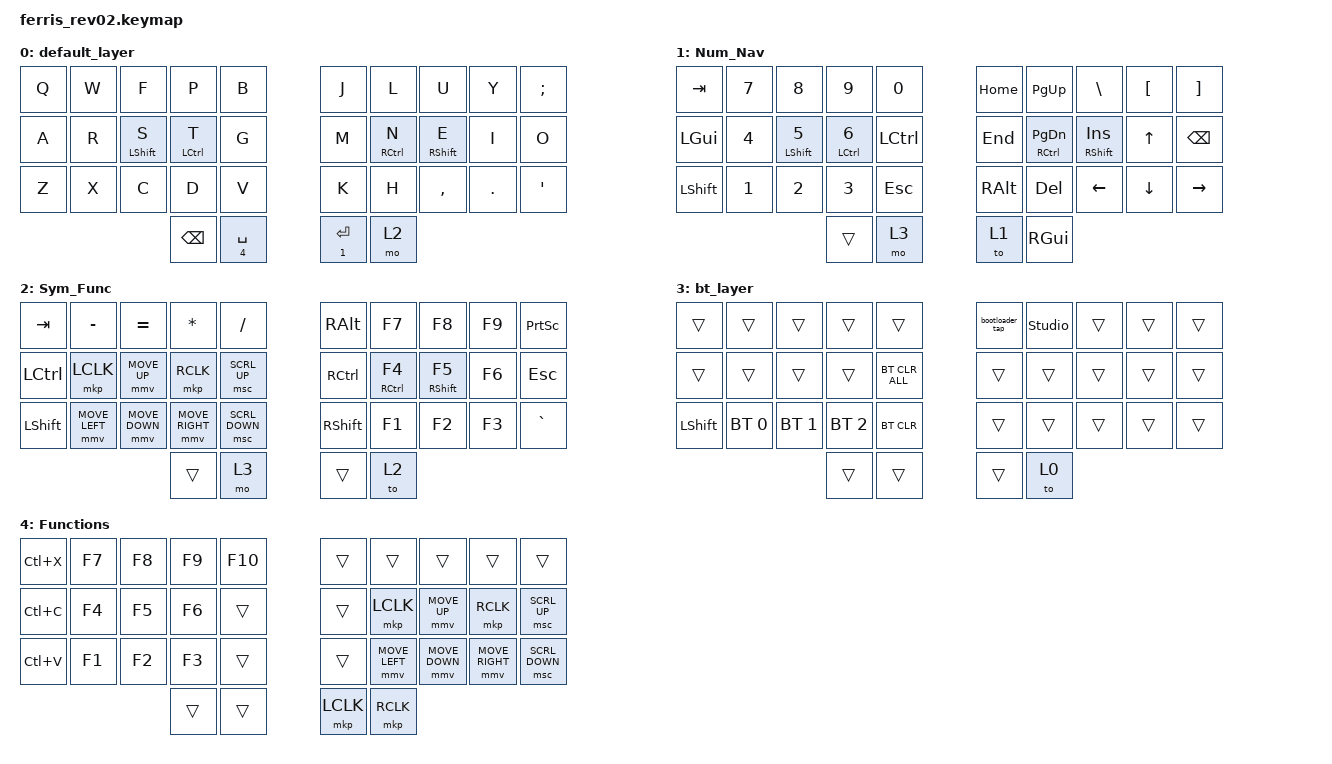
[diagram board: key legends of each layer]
/*
 * Copyright (c) 2020 The ZMK Contributors
 *
 * SPDX-License-Identifier: MIT
 */

#undef ZMK_BEHAVIORS_KEEP_ALL

#define ZMK_MOUSE_DEFAULT_MOVE_VAL 950
#define ZMK_MOUSE_DEFAULT_SCRL_VAL 1

#include <dt-bindings/zmk/mouse.h>
#include <behaviors/mouse_keys.dtsi>
#include <behaviors.dtsi>
#include <dt-bindings/zmk/bt.h>
#include <dt-bindings/zmk/keys.h>
#include <dt-bindings/zmk/pointing.h>

#define NAV_L 1
#define OTHER_L 2
#define NUM_L 3
#define SYM_L 4

// Using layer taps on thumbs, having quick tap as well helps w/ repeating space/backspace

&msc {
    delay-ms = <0>;
    time-to-max-speed-ms = <500>;
    acceleration-exponent = <1>;
};

&mmv {
    delay-ms = <0>;
    time-to-max-speed-ms = <300>;
    acceleration-exponent = <1>;
};

/ {
    behaviors {
        hrshift_l: hrshift_l {
            compatible = "zmk,behavior-hold-tap";
            #binding-cells = <2>;
            tapping-term-ms = <250>;
            flavor = "hold-preferred";
            bindings = <&kp>, <&kp>;

            hold-while-undecided;
            hold-trigger-on-release;
            hold-trigger-key-positions = <5 6 7 8 9 15 16 17 18 19 25 26 27 28 29 32 33>;
        };

        hrshift_r: hrshift_r {
            compatible = "zmk,behavior-hold-tap";
            #binding-cells = <2>;
            tapping-term-ms = <250>;
            flavor = "hold-preferred";
            bindings = <&kp>, <&kp>;

            hold-while-undecided;
            hold-trigger-on-release;
            hold-trigger-key-positions = <0 1 2 3 4 10 11 12 13 14 20 21 22 23 24 30 31>;
        };

        HRL: HRL {
            compatible = "zmk,behavior-hold-tap";
            #binding-cells = <2>;
            tapping-term-ms = <250>;
            flavor = "balanced";
            bindings = <&kp>, <&kp>;

            hold-while-undecided;
            hold-trigger-on-release;
            hold-trigger-key-positions = <5 6 7 8 9 15 16 17 18 19 25 26 27 28 29 32 33>;
        };

        HRR: HRR {
            compatible = "zmk,behavior-hold-tap";
            #binding-cells = <2>;
            tapping-term-ms = <250>;
            flavor = "balanced";
            bindings = <&kp>, <&kp>;

            hold-while-undecided;
            hold-trigger-on-release;
            hold-trigger-key-positions = <0 1 2 3 4 10 11 12 13 14 20 21 22 23 24 30 31>;
        };

        Space_Function: Space_Function {
            compatible = "zmk,behavior-hold-tap";
            #binding-cells = <2>;
            tapping-term-ms = <300>;
            flavor = "tap-preferred";
            bindings = <&lt>, <&kp>;
        };

        bootloader_tap: bootloader_tap {
            compatible = "zmk,behavior-tap-dance";
            #binding-cells = <0>;
            bindings = <&none>, <&bootloader>;
        };
    };

    combos {
        compatible = "zmk,combos";

        CAD {
            bindings = <&kp LA(LC(DELETE))>;
            key-positions = <1 2 3>;
        };

        bootloaderright {
            bindings = <&bootloader>;
            key-positions = <8 18 28>;
        };

        bootloaderleft {
            bindings = <&bootloader>;
            key-positions = <1 11 21>;
        };
    };

    keymap {
        compatible = "zmk,keymap";

        default_layer {
            bindings = <
&kp Q  &kp W  &kp F                    &kp P                &kp B                      &kp J                    &kp L                 &kp U                     &kp Y    &kp SEMICOLON
&kp A  &kp R  &hrshift_l LEFT_SHIFT S  &HRL LEFT_CONTROL T  &kp G                      &kp M                    &HRR RIGHT_CONTROL N  &hrshift_r RIGHT_SHIFT E  &kp I    &kp O
&kp Z  &kp X  &kp C                    &kp D                &kp V                      &kp K                    &kp H                 &kp COMMA                 &kp DOT  &kp SQT
                                       &kp BACKSPACE        &Space_Function 4 SPACE    &Space_Function 1 ENTER  &mo 2
            >;
        };

        Num_Nav {
            bindings = <
&kp TAB         &kp NUMBER_7  &kp NUMBER_8                    &kp NUMBER_9                &kp NUMBER_0        &kp HOME       &kp PG_UP                 &kp BSLH                    &kp LEFT_BRACKET  &kp RIGHT_BRACKET
&kp LEFT_GUI    &kp NUMBER_4  &hrshift_l LEFT_SHIFT NUMBER_5  &HRL LEFT_CONTROL NUMBER_6  &kp LEFT_CONTROL    &kp END        &HRR RIGHT_CONTROL PG_DN  &hrshift_r RIGHT_SHIFT INS  &kp UP            &kp BACKSPACE
&kp LEFT_SHIFT  &kp NUMBER_1  &kp NUMBER_2                    &kp NUMBER_3                &kp ESCAPE          &kp RIGHT_ALT  &kp DELETE                &kp LEFT                    &kp DOWN_ARROW    &kp RIGHT
                                                              &trans                      &mo 3               &to 1          &kp RIGHT_GUI
            >;
        };

        Sym_Func {
            bindings = <
&kp TAB           &kp MINUS       &kp EQUAL       &kp STAR         &kp FSLH          &kp RIGHT_ALT      &kp F7                 &kp F8                     &kp F9  &kp PRINTSCREEN
&kp LEFT_CONTROL  &mkp LCLK       &mmv MOVE_UP    &mkp RCLK        &msc SCRL_UP      &kp RIGHT_CONTROL  &HRR RIGHT_CONTROL F4  &hrshift_r RIGHT_SHIFT F5  &kp F6  &kp ESCAPE
&kp LEFT_SHIFT    &mmv MOVE_LEFT  &mmv MOVE_DOWN  &mmv MOVE_RIGHT  &msc SCRL_DOWN    &kp RIGHT_SHIFT    &kp F1                 &kp F2                     &kp F3  &kp GRAVE
                                                  &trans           &mo 3             &trans             &to 2
            >;
        };

        bt_layer {
            bindings = <
&trans          &trans        &trans        &trans        &trans            &bootloader_tap  &studio_unlock  &trans  &trans  &trans
&trans          &trans        &trans        &trans        &bt BT_CLR_ALL    &trans           &trans          &trans  &trans  &trans
&kp LEFT_SHIFT  &bt BT_SEL 0  &bt BT_SEL 1  &bt BT_SEL 2  &bt BT_CLR        &trans           &trans          &trans  &trans  &trans
                                            &trans        &trans            &trans           &to 0
            >;
        };

        Functions {
            bindings = <
&kp LC(X)  &kp F7  &kp F8  &kp F9  &kp F10    &trans     &trans          &trans          &trans           &trans
&kp LC(C)  &kp F4  &kp F5  &kp F6  &trans     &trans     &mkp LCLK       &mmv MOVE_UP    &mkp RCLK        &msc SCRL_UP
&kp LC(V)  &kp F1  &kp F2  &kp F3  &trans     &trans     &mmv MOVE_LEFT  &mmv MOVE_DOWN  &mmv MOVE_RIGHT  &msc SCRL_DOWN
                           &trans  &trans     &mkp LCLK  &mkp RCLK
            >;
        };
    };
};
